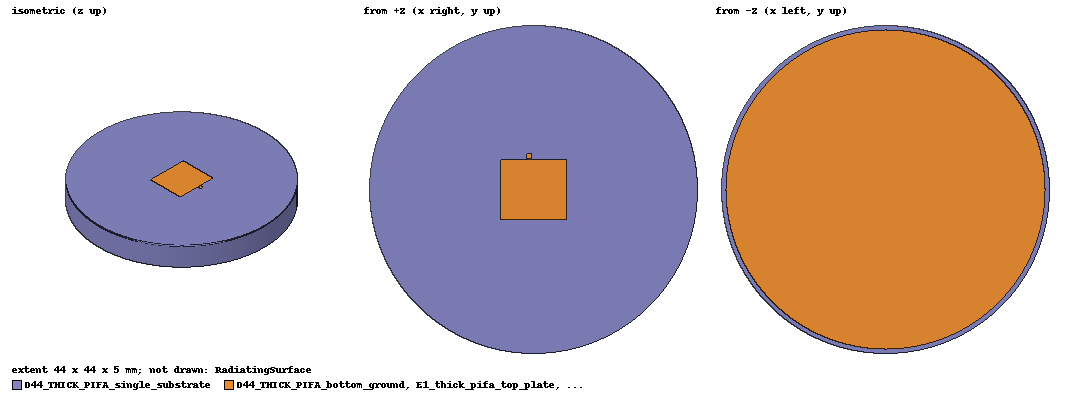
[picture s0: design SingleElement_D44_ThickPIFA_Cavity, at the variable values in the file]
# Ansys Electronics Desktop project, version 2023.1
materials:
  vacuum: permittivity=1
  RO4350B_custom_D44_Topology: permittivity=3.48 permeability=1 dielectric_loss_tangent=0.0037
  copper: permeability=0.999991 conductivity=58000000
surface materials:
  Steel-oxidised-surface

design SingleElement_D44_ThickPIFA_Cavity (HFSS, HFSS Modal Network, model units mm)
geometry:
  D44_THICK_PIFA_single_substrate [RO4350B_custom_D44_Topology] = cylinder(axis=Z, base_centre=(0mm, 0mm, 0mm), radius=22mm, height=5mm, segments=128)
  D44_THICK_PIFA_bottom_ground [copper] = circle(normal=Z, centre=(0mm, 0mm, 0mm), radius=21.4mm, segments=128)
  E1_thick_pifa_top_plate [copper] = polyline(z=5mm, xy in mm: (-4.4, -4) (4.4, -4) (4.4, 4) (-4.4, 4) (-4.4, -4), closed, covered)
  E1_thick_pifa_short_wall [copper] = polyline(x=-4.4mm, yz in mm: (-1.2, 0) (1.2, 0) (1.2, 5) (-1.2, 5) (-1.2, 0), closed, covered)
  E1_thick_pifa_side_fence_pos [copper] = polyline(y=4mm, xz in mm: (-4.4, 0) (-0.2, 0) (-0.2, 5) (-4.4, 5) (-4.4, 0), closed, covered)
  E1_thick_pifa_side_fence_neg [copper] = polyline(y=-4mm, xz in mm: (-4.4, 0) (-0.2, 0) (-0.2, 5) (-4.4, 5) (-4.4, 0), closed, covered)
  E1_thick_pifa_match_feed_island [copper] = polyline(z=5mm, xy in mm: (-0.95, 4.12) (-0.25, 4.12) (-0.25, 4.82) (-0.95, 4.82) (-0.95, 4.12), closed, covered)
  P1_lumped_port_sheet = polyline(y=4.47mm, xz in mm: (-0.875, 0) (-0.325, 0) (-0.325, 5) (-0.875, 5) (-0.875, 0), closed, covered)
  E1_thick_pifa_series_match_sheet = polyline(z=5mm, xy in mm: (-0.77, 4) (-0.43, 4) (-0.43, 4.12) (-0.77, 4.12) (-0.77, 4), closed, covered)
  E1_thick_pifa_shunt_match_switch_off_load_sheet = polyline(y=4.47mm, xz in mm: (-0.875, 0) (-0.325, 0) (-0.325, 5) (-0.875, 5) (-0.875, 0), closed, covered)
  RadiatingSurface [vacuum] = region(absolute_offset=14.285714mm on all sides)
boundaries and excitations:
  E1_thick_pifa_series_match: Lumped RLC Objects=E1_thick_pifa_series_match_sheet CurrentLine{(-0.6, 4.12, 5) -> (-0.6, 4, 5)} RLC_Type=Serial Capacitance=1.05e-13f
  E1_thick_pifa_shunt_match_switch_off_load: Lumped RLC Objects=E1_thick_pifa_shunt_match_switch_off_load_sheet CurrentLine{(-0.6, 4.47, 5) -> (-0.6, 4.47, 0)} RLC_Type=Parallel Inductance=5.8e-10H
  D44_THICK_PIFA_PEC_metallization: Perfect E Objects=[D44_THICK_PIFA_bottom_ground, E1_thick_pifa_top_plate, E1_thick_pifa_short_wall, E1_thick_pifa_side_fence_pos, E1_thick_pifa_side_fence_neg, E1_thick_pifa_match_feed_island]
  Open1: Radiation Objects=RadiatingSurface
  P1: Lumped Port Objects=P1_lumped_port_sheet LumpedPortType=Modal Modes{Mode1{IntLine{(-0.6, 4.47, 5) -> (-0.6, 4.47, 0)} CharImp=Zpi RenormImp=50ohm}} Impedance=50ohm
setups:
  Setup_CH9: HfssDriven Frequency=8GHz MaxDeltaS=0.03 MaximumPasses=5 MinimumPasses=2 MinimumConvergedPasses=1 PercentRefinement=30 BasisOrder=1 PortAccuracy=2 DrivenSolverType="Direct Solver"
    sweep Sweep_CH9: point 8GHz; SaveSingleField Type=Discrete SaveFields SaveRadFields
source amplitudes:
  P1:1: 1W 0deg
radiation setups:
  3D: Infinite Sphere Theta=0deg..180deg step 2deg Phi=-180deg..180deg step 2deg
  Elevation: Infinite Sphere Theta=-180deg..180deg step 1deg Phi=0deg..90deg step 90deg
  Azimuth: Infinite Sphere Theta=90deg..90deg step 0deg Phi=-180deg..180deg step 1deg
  Upper_Hemisphere_5deg: Infinite Sphere Theta=0deg..360deg step 5deg Phi=0deg..90deg step 5deg
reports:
  D44_THICK_PIFA_SINGLE_S_Parameters: dB(S(P1:1,P1:1)) vs Freq on Setup_CH9 : Sweep_CH9
  D44_THICK_PIFA_SINGLE_GainTotal_8GHz: dB(GainTotal) vs Phi, Theta on Setup_CH9 : Sweep_CH9, Upper_Hemisphere_5deg [Freq=8GHz]
  D44_THICK_PIFA_SINGLE_AxialRatio_8GHz: AxialRatioValue vs Phi, Theta on Setup_CH9 : Sweep_CH9, Upper_Hemisphere_5deg [Freq=8GHz]
